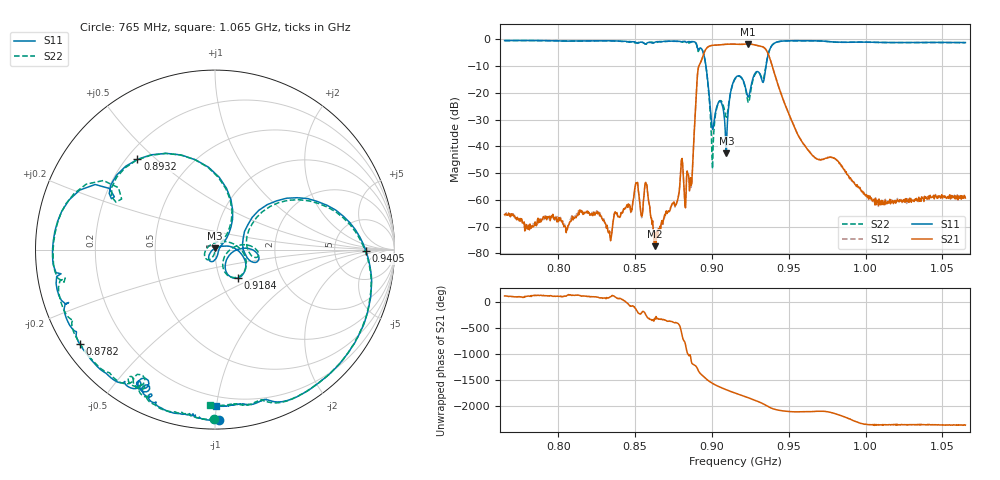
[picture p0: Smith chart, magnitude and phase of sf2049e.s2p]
! Sonnet Data File
! From: emgraph Version : 12.53-Lite
! From Emgraph Data: sf2049E
! Data File Written: 06/20/2012 10:58:03
!< HDATE 06/20/2012 10:57:07
!< MDATE 06/20/2012 10:57:07
# HZ S RI R 50.00000
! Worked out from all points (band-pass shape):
!   801 points, 765 MHz to 1.065 GHz, reference 50 ohm
!   highest |S21| = -1.73 dB at 923.6 MHz (marker M1); lowest = -77.3 dB at 862.9 MHz (marker M2)
!   |S21| within 3 dB of the highest: 895.1 MHz to 936 MHz (40.91 MHz wide, 4.47 % of centre)
!   lowest |S11| = -42.5 dB at 909.4 MHz (marker M3), VSWR 1.02, Z = 50 + j0.747 ohm
!   |S11| at or under -10 dB: 896.1 MHz to 935.2 MHz (39.1 MHz wide, 4.27 % of centre)
!   |S22| runs from -48.4 to -0.5 dB; largest |S21 - S12| = 0.0054
!   S11 on the Smith chart (normalised r, x): 765 MHz: 0.06, -1.03; 878.2 MHz: 0.05, -0.31; 893.2 MHz: 0.24, +0.44; 918.4 MHz: 1.23, -0.40; 940.5 MHz: 12, -1; 1.065 GHz: 0.14, -1.00
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7.65e8  0.0249 -0.9466  -0.000233 0.000478  -0.000223 0.000454  -0.00346 -0.9448
8.1525e8  -0.159 -0.9197  -0.000194 0.000545  -0.000207 0.000536  -0.1877 -0.9086
8.33625e8  -0.2772 -0.8944  -1.68e-05 0.000202  3.28e-06 0.000239  -0.3097 -0.8833
8.5725e8  -0.3686 -0.7464  -0.000238 0.0019  -0.000178 0.00189  -0.4021 -0.7027
8.62875e8  -0.428 -0.7702  8.92e-05 0.000104  7.65e-05 0.000113  -0.4662 -0.7063
8.65125e8  -0.4945 -0.7554  0.000254 0.00014  0.000216 0.000176  -0.5032 -0.7471
8.7825e8  -0.7543 -0.5254  0.000503 -0.00109  0.000492 -0.00111  -0.772 -0.4907
8.865e8  -0.8859 -0.1281  0.00114 -0.00146  0.000996 -0.00139  -0.8997 -0.0798
8.90625e8  -0.5875 0.3404  -0.2041 0.1001  -0.2037 0.1053  -0.5381 0.345
8.9325e8  -0.4322 0.5028  0.305 0.2791  0.3055 0.2778  -0.4366 0.4984
8.95875e8  0.0646 0.3407  0.5701 -0.2959  0.5697 -0.2997  0.0599 0.3399
8.9925e8  0.0332 0.0206  -0.171 -0.7402  -0.1754 -0.7386  0.0192 0.0191
9.0375e8  -0.00472 -0.0604  -0.7787 -0.0651  -0.7784 -0.0604  -0.0279 -0.0539
9.09375e8  0.00048 0.00746  -0.3297 0.7389  -0.3263 0.7384  -0.0149 0.0316
9.15e8  0.1707 -0.073  0.5087 0.6295  0.5109 0.6292  0.1726 -0.0561
9.18375e8  0.1299 -0.157  0.7711 0.2276  0.7734 0.2248  0.1297 -0.152
9.23625e8  0.0709 -0.044  0.6412 -0.5105  0.6393 -0.5132  0.0536 -0.0375
9.33375e8  0.1534 0.0314  -0.6554 -0.2875  -0.6574 -0.286  0.1746 0.0424
9.405e8  0.8407 -0.00725  -0.052 0.2337  -0.0523 0.2358  0.8398 -0.0159
9.6525e8  0.4767 -0.8096  0.00377 0.0057  0.00391 0.00569  0.4584 -0.8188
1.015125e9  0.1384 -0.8607  -0.00084 0.000223  -0.000835 0.000204  0.111 -0.8599
1.065e9  0.00446 -0.8692  -0.000987 0.000446  -0.000992 0.000453  -0.0262 -0.8645
